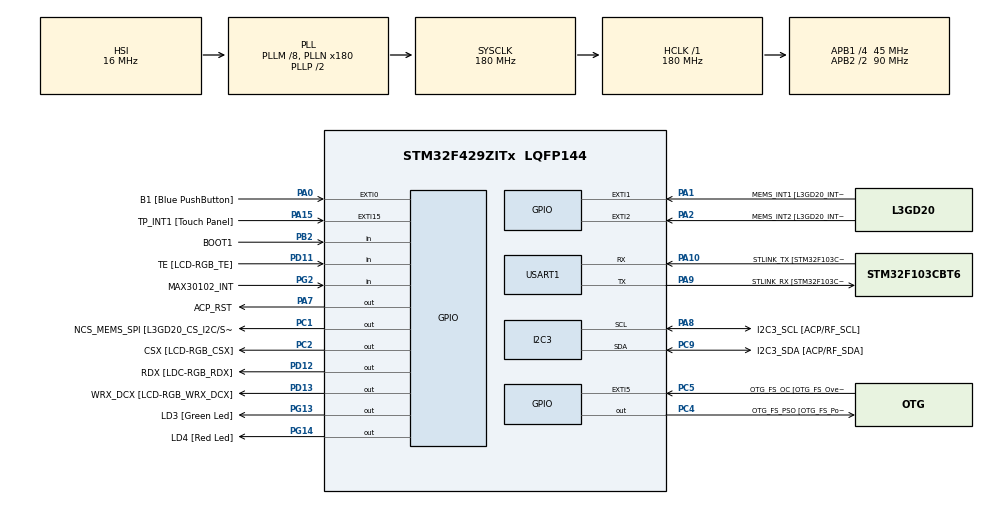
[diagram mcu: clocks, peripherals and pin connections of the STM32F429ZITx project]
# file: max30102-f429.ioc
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Mcu.Family=STM32F4
Mcu.Name=STM32F429ZITx
Mcu.Package=LQFP144
NVIC.PriorityGroup=NVIC_PRIORITYGROUP_0
PA0/WKUP.GPIO_Label=B1 [Blue PushButton]
PA0/WKUP.GPIO_ModeDefaultEXTI=GPIO_MODE_EVT_RISING
PA0/WKUP.GPIO_PuPd=GPIO_NOPULL
PA0/WKUP.Signal=GPXTI0
PA1.GPIO_Label=MEMS_INT1 [L3GD20_INT1]
PA1.GPIO_ModeDefaultEXTI=GPIO_MODE_EVT_RISING
PA1.GPIO_PuPd=GPIO_NOPULL
PA1.Signal=GPXTI1
PA10.GPIO_Label=STLINK_TX [STM32F103CBT6_PA2]
PA10.Mode=Asynchronous
PA10.Signal=USART1_RX
PA11.GPIO_Label=R4
PA11.GPIO_Mode=GPIO_MODE_AF_PP
PA11.GPIO_PuPd=GPIO_NOPULL
PA11.GPIO_Speed=GPIO_SPEED_FREQ_LOW
PA11.Signal=LTDC_R4
PA12.GPIO_Label=R5
PA12.GPIO_Mode=GPIO_MODE_AF_PP
PA12.GPIO_PuPd=GPIO_NOPULL
PA12.GPIO_Speed=GPIO_SPEED_FREQ_LOW
PA12.Signal=LTDC_R5
PA13.GPIO_Label=SWDIO
PA13.Signal=SYS_JTMS-SWDIO
PA14.GPIO_Label=SWCLK
PA14.Signal=SYS_JTCK-SWCLK
PA15.GPIO_Label=TP_INT1 [Touch Panel]
PA15.GPIO_ModeDefaultEXTI=GPIO_MODE_EVT_RISING
PA15.GPIO_PuPd=GPIO_NOPULL
PA15.Signal=GPXTI15
PA2.GPIO_Label=MEMS_INT2 [L3GD20_INT2]
PA2.GPIO_ModeDefaultEXTI=GPIO_MODE_EVT_RISING
PA2.GPIO_PuPd=GPIO_NOPULL
PA2.Signal=GPXTI2
PA3.GPIO_Label=B5
PA3.GPIO_Mode=GPIO_MODE_AF_PP
PA3.GPIO_PuPd=GPIO_NOPULL
PA3.GPIO_Speed=GPIO_SPEED_FREQ_LOW
PA3.Signal=LTDC_B5
PA4.GPIO_Label=VSYNC
PA4.GPIO_Mode=GPIO_MODE_AF_PP
PA4.GPIO_PuPd=GPIO_NOPULL
PA4.GPIO_Speed=GPIO_SPEED_FREQ_LOW
PA4.Signal=LTDC_VSYNC
PA6.GPIO_Label=G2
PA6.GPIO_Mode=GPIO_MODE_AF_PP
PA6.GPIO_PuPd=GPIO_NOPULL
PA6.GPIO_Speed=GPIO_SPEED_FREQ_LOW
PA6.Signal=LTDC_G2
PA7.GPIO_Label=ACP_RST
PA7.GPIO_Mode=GPIO_MODE_OUTPUT_PP
PA7.GPIO_PuPd=GPIO_NOPULL
PA7.GPIO_Speed=GPIO_SPEED_FREQ_LOW
PA7.Signal=GPIO_Output
PA8.GPIO_Label=I2C3_SCL [ACP/RF_SCL]
PA8.GPIO_Mode=GPIO_MODE_AF_OD
PA8.GPIO_PuPd=GPIO_NOPULL
PA8.GPIO_Speed=GPIO_SPEED_FREQ_LOW
PA8.Mode=I2C
PA8.Signal=I2C3_SCL
PA9.GPIO_Label=STLINK_RX [STM32F103CBT6_PA3]
PA9.Mode=Asynchronous
PA9.Signal=USART1_TX
PB0.GPIO_Label=R3
PB0.GPIO_Mode=GPIO_MODE_AF_PP
PB0.GPIO_PuPd=GPIO_NOPULL
PB0.GPIO_Speed=GPIO_SPEED_FREQ_LOW
PB0.Signal=LTDC_R3
PB1.GPIO_Label=R6
PB1.GPIO_Mode=GPIO_MODE_AF_PP
PB1.GPIO_PuPd=GPIO_NOPULL
PB1.GPIO_Speed=GPIO_SPEED_FREQ_LOW
PB1.Signal=LTDC_R6
PB10.GPIO_Label=G4
PB10.GPIO_Mode=GPIO_MODE_AF_PP
PB10.GPIO_PuPd=GPIO_NOPULL
PB10.GPIO_Speed=GPIO_SPEED_FREQ_LOW
PB10.Signal=LTDC_G4
PB11.GPIO_Label=G5
PB11.GPIO_Mode=GPIO_MODE_AF_PP
PB11.GPIO_PuPd=GPIO_NOPULL
PB11.GPIO_Speed=GPIO_SPEED_FREQ_LOW
PB11.Signal=LTDC_G5
PB12.GPIO_Label=OTG_HS_ID
PB12.GPIO_Mode=GPIO_MODE_AF_PP
PB12.GPIO_PuPd=GPIO_NOPULL
PB12.GPIO_Speed=GPIO_SPEED_FREQ_LOW
PB12.Signal=USB_OTG_HS_ID
PB13.GPIO_Label=VBUS_HS
PB13.GPIO_Mode=GPIO_MODE_INPUT
PB13.GPIO_PuPd=GPIO_NOPULL
PB13.Signal=USB_OTG_HS_VBUS
PB14.GPIO_Label=OTG_HS_DM
PB14.GPIO_Mode=GPIO_MODE_AF_PP
PB14.GPIO_PuPd=GPIO_NOPULL
PB14.GPIO_Speed=GPIO_SPEED_FREQ_LOW
PB14.Signal=USB_OTG_HS_DM
PB15.GPIO_Label=OTG_HS_DP
PB15.GPIO_Mode=GPIO_MODE_AF_PP
PB15.GPIO_PuPd=GPIO_NOPULL
PB15.GPIO_Speed=GPIO_SPEED_FREQ_LOW
PB15.Signal=USB_OTG_HS_DP
PB2/BOOT1.GPIO_Label=BOOT1
PB2/BOOT1.GPIO_Mode=GPIO_MODE_INPUT
PB2/BOOT1.GPIO_PuPd=GPIO_NOPULL
PB2/BOOT1.Signal=GPIO_Input
PB5.GPIO_Label=SDCKE1
PB5.GPIO_Mode=GPIO_MODE_AF_PP
PB5.GPIO_PuPd=GPIO_NOPULL
PB5.GPIO_Speed=GPIO_SPEED_FREQ_VERY_HIGH
PB5.Signal=FMC_SDCKE1
PB6.GPIO_Label=SDNE1 [SDRAM_CS]
PB6.GPIO_Mode=GPIO_MODE_AF_PP
PB6.GPIO_PuPd=GPIO_NOPULL
PB6.GPIO_Speed=GPIO_SPEED_FREQ_VERY_HIGH
PB6.Signal=FMC_SDNE1
PB8.GPIO_Label=B6
PB8.GPIO_Mode=GPIO_MODE_AF_PP
PB8.GPIO_PuPd=GPIO_NOPULL
PB8.GPIO_Speed=GPIO_SPEED_FREQ_LOW
PB8.Signal=LTDC_B6
PB9.GPIO_Label=B7
PB9.GPIO_Mode=GPIO_MODE_AF_PP
PB9.GPIO_PuPd=GPIO_NOPULL
PB9.GPIO_Speed=GPIO_SPEED_FREQ_LOW
PB9.Signal=LTDC_B7
PC0.GPIO_Label=SDNWE
PC0.GPIO_Mode=GPIO_MODE_AF_PP
PC0.GPIO_PuPd=GPIO_NOPULL
PC0.GPIO_Speed=GPIO_SPEED_FREQ_VERY_HIGH
PC0.Signal=FMC_SDNWE
PC1.GPIO_Label=NCS_MEMS_SPI [L3GD20_CS_I2C/SPI]
PC1.GPIO_Mode=GPIO_MODE_OUTPUT_PP
PC1.GPIO_PuPd=GPIO_NOPULL
PC1.GPIO_Speed=GPIO_SPEED_FREQ_LOW
PC1.Signal=GPIO_Output
PC10.GPIO_Label=R2
PC10.GPIO_Mode=GPIO_MODE_AF_PP
PC10.GPIO_PuPd=GPIO_NOPULL
PC10.GPIO_Speed=GPIO_SPEED_FREQ_LOW
PC10.Signal=LTDC_R2
PC14/OSC32_IN.GPIO_Label=PC14-OSC32_IN
PC14/OSC32_IN.Signal=RCC_OSC32_IN
PC15/OSC32_OUT.GPIO_Label=PC15-OSC32_OUT
PC15/OSC32_OUT.Signal=RCC_OSC32_OUT
PC2.GPIO_Label=CSX [LCD-RGB_CSX]
PC2.GPIO_Mode=GPIO_MODE_OUTPUT_PP
PC2.GPIO_PuPd=GPIO_NOPULL
PC2.GPIO_Speed=GPIO_SPEED_FREQ_LOW
PC2.Signal=GPIO_Output
PC4.GPIO_Label=OTG_FS_PSO [OTG_FS_PowerSwitchOn]
PC4.GPIO_Mode=GPIO_MODE_OUTPUT_PP
PC4.GPIO_PuPd=GPIO_NOPULL
PC4.GPIO_Speed=GPIO_SPEED_FREQ_LOW
PC4.Signal=GPIO_Output
PC5.GPIO_Label=OTG_FS_OC [OTG_FS_OverCurrent]
PC5.GPIO_ModeDefaultEXTI=GPIO_MODE_EVT_RISING
PC5.Signal=GPXTI5
PC6.GPIO_Label=HSYNC
PC6.GPIO_Mode=GPIO_MODE_AF_PP
PC6.GPIO_PuPd=GPIO_NOPULL
PC6.GPIO_Speed=GPIO_SPEED_FREQ_LOW
PC6.Signal=LTDC_HSYNC
PC7.GPIO_Label=G6
PC7.GPIO_Mode=GPIO_MODE_AF_PP
PC7.GPIO_PuPd=GPIO_NOPULL
PC7.GPIO_Speed=GPIO_SPEED_FREQ_LOW
PC7.Signal=LTDC_G6
PC9.GPIO_Label=I2C3_SDA [ACP/RF_SDA]
PC9.GPIO_Mode=GPIO_MODE_AF_OD
PC9.GPIO_PuPd=GPIO_NOPULL
PC9.GPIO_Speed=GPIO_SPEED_FREQ_LOW
PC9.Mode=I2C
PC9.Signal=I2C3_SDA
PD0.GPIO_Label=D2
PD0.GPIO_Mode=GPIO_MODE_AF_PP
PD0.GPIO_PuPd=GPIO_NOPULL
PD0.GPIO_Speed=GPIO_SPEED_FREQ_VERY_HIGH
PD0.Signal=FMC_D2_DA2
PD1.GPIO_Label=D3
PD1.GPIO_Mode=GPIO_MODE_AF_PP
PD1.GPIO_PuPd=GPIO_NOPULL
PD1.GPIO_Speed=GPIO_SPEED_FREQ_VERY_HIGH
PD1.Signal=FMC_D3_DA3
PD10.GPIO_Label=D15
PD10.GPIO_Mode=GPIO_MODE_AF_PP
PD10.GPIO_PuPd=GPIO_NOPULL
PD10.GPIO_Speed=GPIO_SPEED_FREQ_VERY_HIGH
PD10.Signal=FMC_D15_DA15
PD11.GPIO_Label=TE [LCD-RGB_TE]
PD11.GPIO_Mode=GPIO_MODE_INPUT
PD11.GPIO_PuPd=GPIO_NOPULL
PD11.Signal=GPIO_Input
PD12.GPIO_Label=RDX [LDC-RGB_RDX]
PD12.GPIO_Mode=GPIO_MODE_OUTPUT_PP
PD12.GPIO_PuPd=GPIO_NOPULL
PD12.GPIO_Speed=GPIO_SPEED_FREQ_LOW
PD12.Signal=GPIO_Output
PD13.GPIO_Label=WRX_DCX [LCD-RGB_WRX_DCX]
PD13.GPIO_Mode=GPIO_MODE_OUTPUT_PP
PD13.GPIO_PuPd=GPIO_NOPULL
PD13.GPIO_Speed=GPIO_SPEED_FREQ_LOW
PD13.Signal=GPIO_Output
PD14.GPIO_Label=D0
PD14.GPIO_Mode=GPIO_MODE_AF_PP
PD14.GPIO_PuPd=GPIO_NOPULL
PD14.GPIO_Speed=GPIO_SPEED_FREQ_VERY_HIGH
PD14.Signal=FMC_D0_DA0
PD15.GPIO_Label=D1
PD15.GPIO_Mode=GPIO_MODE_AF_PP
PD15.GPIO_PuPd=GPIO_NOPULL
PD15.GPIO_Speed=GPIO_SPEED_FREQ_VERY_HIGH
PD15.Signal=FMC_D1_DA1
PD3.GPIO_Label=G7
PD3.GPIO_Mode=GPIO_MODE_AF_PP
PD3.GPIO_PuPd=GPIO_NOPULL
PD3.GPIO_Speed=GPIO_SPEED_FREQ_LOW
PD3.Signal=LTDC_G7
PD6.GPIO_Label=B2
PD6.GPIO_Mode=GPIO_MODE_AF_PP
PD6.GPIO_PuPd=GPIO_NOPULL
PD6.GPIO_Speed=GPIO_SPEED_FREQ_LOW
PD6.Signal=LTDC_B2
PD8.GPIO_Label=D13
PD8.GPIO_Mode=GPIO_MODE_AF_PP
PD8.GPIO_PuPd=GPIO_NOPULL
PD8.GPIO_Speed=GPIO_SPEED_FREQ_VERY_HIGH
PD8.Signal=FMC_D13_DA13
PD9.GPIO_Label=D14
PD9.GPIO_Mode=GPIO_MODE_AF_PP
PD9.GPIO_PuPd=GPIO_NOPULL
PD9.GPIO_Speed=GPIO_SPEED_FREQ_VERY_HIGH
PD9.Signal=FMC_D14_DA14
PE0.GPIO_Label=NBL0 [SDRAM_LDQM]
PE0.GPIO_Mode=GPIO_MODE_AF_PP
PE0.GPIO_PuPd=GPIO_NOPULL
PE0.GPIO_Speed=GPIO_SPEED_FREQ_VERY_HIGH
PE0.Signal=FMC_NBL0
PE1.GPIO_Label=NBL1 [SDRAM_UDQM]
PE1.GPIO_Mode=GPIO_MODE_AF_PP
PE1.GPIO_PuPd=GPIO_NOPULL
PE1.GPIO_Speed=GPIO_SPEED_FREQ_VERY_HIGH
PE1.Signal=FMC_NBL1
PE10.GPIO_Label=D7
PE10.GPIO_Mode=GPIO_MODE_AF_PP
PE10.GPIO_PuPd=GPIO_NOPULL
PE10.GPIO_Speed=GPIO_SPEED_FREQ_VERY_HIGH
PE10.Signal=FMC_D7_DA7
PE11.GPIO_Label=D8
PE11.GPIO_Mode=GPIO_MODE_AF_PP
PE11.GPIO_PuPd=GPIO_NOPULL
PE11.GPIO_Speed=GPIO_SPEED_FREQ_VERY_HIGH
PE11.Signal=FMC_D8_DA8
PE12.GPIO_Label=D9
PE12.GPIO_Mode=GPIO_MODE_AF_PP
PE12.GPIO_PuPd=GPIO_NOPULL
PE12.GPIO_Speed=GPIO_SPEED_FREQ_VERY_HIGH
PE12.Signal=FMC_D9_DA9
PE13.GPIO_Label=D10
PE13.GPIO_Mode=GPIO_MODE_AF_PP
PE13.GPIO_PuPd=GPIO_NOPULL
PE13.GPIO_Speed=GPIO_SPEED_FREQ_VERY_HIGH
PE13.Signal=FMC_D10_DA10
PE14.GPIO_Label=D11
PE14.GPIO_Mode=GPIO_MODE_AF_PP
PE14.GPIO_PuPd=GPIO_NOPULL
PE14.GPIO_Speed=GPIO_SPEED_FREQ_VERY_HIGH
PE14.Signal=FMC_D11_DA11
PE15.GPIO_Label=D12
PE15.GPIO_Mode=GPIO_MODE_AF_PP
PE15.GPIO_PuPd=GPIO_NOPULL
PE15.GPIO_Speed=GPIO_SPEED_FREQ_VERY_HIGH
PE15.Signal=FMC_D12_DA12
PE7.GPIO_Label=D4
PE7.GPIO_Mode=GPIO_MODE_AF_PP
PE7.GPIO_PuPd=GPIO_NOPULL
PE7.GPIO_Speed=GPIO_SPEED_FREQ_VERY_HIGH
PE7.Signal=FMC_D4_DA4
PE8.GPIO_Label=D5
PE8.GPIO_Mode=GPIO_MODE_AF_PP
PE8.GPIO_PuPd=GPIO_NOPULL
PE8.GPIO_Speed=GPIO_SPEED_FREQ_VERY_HIGH
PE8.Signal=FMC_D5_DA5
PE9.GPIO_Label=D6
PE9.GPIO_Mode=GPIO_MODE_AF_PP
PE9.GPIO_PuPd=GPIO_NOPULL
PE9.GPIO_Speed=GPIO_SPEED_FREQ_VERY_HIGH
PE9.Signal=FMC_D6_DA6
PF0.GPIO_Label=A0
PF0.GPIO_Mode=GPIO_MODE_AF_PP
PF0.GPIO_PuPd=GPIO_NOPULL
PF0.GPIO_Speed=GPIO_SPEED_FREQ_VERY_HIGH
PF0.Signal=FMC_A0
PF1.GPIO_Label=A1
PF1.GPIO_Mode=GPIO_MODE_AF_PP
PF1.GPIO_PuPd=GPIO_NOPULL
PF1.GPIO_Speed=GPIO_SPEED_FREQ_VERY_HIGH
PF1.Signal=FMC_A1
PF10.GPIO_Label=ENABLE [LCD-RGB_ENABLE]
PF10.GPIO_Mode=GPIO_MODE_AF_PP
PF10.GPIO_PuPd=GPIO_NOPULL
PF10.GPIO_Speed=GPIO_SPEED_FREQ_LOW
PF10.Signal=LTDC_DE
PF11.GPIO_Label=SDNRAS
PF11.GPIO_Mode=GPIO_MODE_AF_PP
PF11.GPIO_PuPd=GPIO_NOPULL
PF11.GPIO_Speed=GPIO_SPEED_FREQ_VERY_HIGH
PF11.Signal=FMC_SDNRAS
PF12.GPIO_Label=A6
PF12.GPIO_Mode=GPIO_MODE_AF_PP
PF12.GPIO_PuPd=GPIO_NOPULL
PF12.GPIO_Speed=GPIO_SPEED_FREQ_VERY_HIGH
PF12.Signal=FMC_A6
PF13.GPIO_Label=A7
PF13.GPIO_Mode=GPIO_MODE_AF_PP
PF13.GPIO_PuPd=GPIO_NOPULL
PF13.GPIO_Speed=GPIO_SPEED_FREQ_VERY_HIGH
PF13.Signal=FMC_A7
PF14.GPIO_Label=A8
PF14.GPIO_Mode=GPIO_MODE_AF_PP
PF14.GPIO_PuPd=GPIO_NOPULL
PF14.GPIO_Speed=GPIO_SPEED_FREQ_VERY_HIGH
PF14.Signal=FMC_A8
PF15.GPIO_Label=A9
PF15.GPIO_Mode=GPIO_MODE_AF_PP
PF15.GPIO_PuPd=GPIO_NOPULL
PF15.GPIO_Speed=GPIO_SPEED_FREQ_VERY_HIGH
PF15.Signal=FMC_A9
PF2.GPIO_Label=A2
PF2.GPIO_Mode=GPIO_MODE_AF_PP
PF2.GPIO_PuPd=GPIO_NOPULL
PF2.GPIO_Speed=GPIO_SPEED_FREQ_VERY_HIGH
PF2.Signal=FMC_A2
PF3.GPIO_Label=A3
PF3.GPIO_Mode=GPIO_MODE_AF_PP
PF3.GPIO_PuPd=GPIO_NOPULL
PF3.GPIO_Speed=GPIO_SPEED_FREQ_VERY_HIGH
PF3.Signal=FMC_A3
PF4.GPIO_Label=A4
PF4.GPIO_Mode=GPIO_MODE_AF_PP
PF4.GPIO_PuPd=GPIO_NOPULL
PF4.GPIO_Speed=GPIO_SPEED_FREQ_VERY_HIGH
PF4.Signal=FMC_A4
PF5.GPIO_Label=A5
PF5.GPIO_Mode=GPIO_MODE_AF_PP
PF5.GPIO_PuPd=GPIO_NOPULL
PF5.GPIO_Speed=GPIO_SPEED_FREQ_VERY_HIGH
PF5.Signal=FMC_A5
PF7.GPIO_Label=SPI5_SCK [L3GD20_SCL/SPC]
PF7.GPIO_Mode=GPIO_MODE_AF_PP
PF7.GPIO_PuPd=GPIO_NOPULL
PF7.GPIO_Speed=GPIO_SPEED_FREQ_LOW
PF7.Signal=SPI5_SCK
PF8.GPIO_Label=SPI5_MISO [L3GD20_SDO]
PF8.GPIO_Mode=GPIO_MODE_AF_PP
PF8.GPIO_PuPd=GPIO_NOPULL
PF8.GPIO_Speed=GPIO_SPEED_FREQ_LOW
PF8.Signal=SPI5_MISO
PF9.GPIO_Label=SPI5_MOSI [L3GD20_SDA/SDI/SDO]
PF9.GPIO_Mode=GPIO_MODE_AF_PP
PF9.GPIO_PuPd=GPIO_NOPULL
PF9.GPIO_Speed=GPIO_SPEED_FREQ_LOW
PF9.Signal=SPI5_MOSI
PG0.GPIO_Label=A10
PG0.GPIO_Mode=GPIO_MODE_AF_PP
PG0.GPIO_PuPd=GPIO_NOPULL
PG0.GPIO_Speed=GPIO_SPEED_FREQ_VERY_HIGH
PG0.Signal=FMC_A10
PG1.GPIO_Label=A11
PG1.GPIO_Mode=GPIO_MODE_AF_PP
PG1.GPIO_PuPd=GPIO_NOPULL
PG1.GPIO_Speed=GPIO_SPEED_FREQ_VERY_HIGH
PG1.Signal=FMC_A11
PG10.GPIO_Label=G3
PG10.GPIO_Mode=GPIO_MODE_AF_PP
PG10.GPIO_PuPd=GPIO_NOPULL
PG10.GPIO_Speed=GPIO_SPEED_FREQ_LOW
PG10.Signal=LTDC_G3
PG11.GPIO_Label=B3
PG11.GPIO_Mode=GPIO_MODE_AF_PP
PG11.GPIO_PuPd=GPIO_NOPULL
PG11.GPIO_Speed=GPIO_SPEED_FREQ_LOW
PG11.Signal=LTDC_B3
PG12.GPIO_Label=B4
PG12.GPIO_Mode=GPIO_MODE_AF_PP
PG12.GPIO_PuPd=GPIO_NOPULL
PG12.GPIO_Speed=GPIO_SPEED_FREQ_LOW
PG12.Signal=LTDC_B4
PG13.GPIO_Label=LD3 [Green Led]
PG13.GPIO_Mode=GPIO_MODE_OUTPUT_PP
PG13.GPIO_PuPd=GPIO_NOPULL
PG13.GPIO_Speed=GPIO_SPEED_FREQ_LOW
PG13.Signal=GPIO_Output
PG14.GPIO_Label=LD4 [Red Led]
PG14.GPIO_Mode=GPIO_MODE_OUTPUT_PP
PG14.GPIO_PuPd=GPIO_NOPULL
PG14.GPIO_Speed=GPIO_SPEED_FREQ_LOW
PG14.Signal=GPIO_Output
PG15.GPIO_Label=SDNCAS
PG15.GPIO_Mode=GPIO_MODE_AF_PP
PG15.GPIO_PuPd=GPIO_NOPULL
PG15.GPIO_Speed=GPIO_SPEED_FREQ_VERY_HIGH
PG15.Signal=FMC_SDNCAS
PG2.GPIO_Label=MAX30102_INT
PG2.Signal=GPIO_Input
PG4.GPIO_Label=BA0
PG4.GPIO_Mode=GPIO_MODE_AF_PP
PG4.GPIO_PuPd=GPIO_NOPULL
PG4.GPIO_Speed=GPIO_SPEED_FREQ_VERY_HIGH
PG4.Signal=FMC_A14_BA0
PG5.GPIO_Label=BA1
PG5.GPIO_Mode=GPIO_MODE_AF_PP
PG5.GPIO_PuPd=GPIO_NOPULL
PG5.GPIO_Speed=GPIO_SPEED_FREQ_VERY_HIGH
PG5.Signal=FMC_A15_BA1
PG6.GPIO_Label=R7
PG6.GPIO_Mode=GPIO_MODE_AF_PP
PG6.GPIO_PuPd=GPIO_NOPULL
PG6.GPIO_Speed=GPIO_SPEED_FREQ_LOW
PG6.Signal=LTDC_R7
PG7.GPIO_Label=DOTCLK [LCT-RGB_DOTCLK]
PG7.GPIO_Mode=GPIO_MODE_AF_PP
PG7.GPIO_PuPd=GPIO_NOPULL
PG7.GPIO_Speed=GPIO_SPEED_FREQ_LOW
PG7.Signal=LTDC_CLK
PG8.GPIO_Label=SDCLK
PG8.GPIO_Mode=GPIO_MODE_AF_PP
PG8.GPIO_PuPd=GPIO_NOPULL
PG8.GPIO_Speed=GPIO_SPEED_FREQ_VERY_HIGH
PG8.Signal=FMC_SDCLK
PH0/OSC_IN.GPIO_Label=PH0-OSC_IN
PH0/OSC_IN.Signal=RCC_OSC_IN
PH1/OSC_OUT.GPIO_Label=PH1-OSC_OUT
PH1/OSC_OUT.Signal=RCC_OSC_OUT
ProjectManager.HeapSize=0x200
ProjectManager.StackSize=0x400
ProjectManager.TargetToolchain=Makefile
RCC.48MHZClocksFreq_Value=51428571.428571425
RCC.AHBFreq_Value=180000000
RCC.APB1CLKDivider=RCC_HCLK_DIV4
RCC.APB1Freq_Value=45000000
RCC.APB1TimFreq_Value=90000000
RCC.APB2CLKDivider=RCC_HCLK_DIV2
RCC.APB2Freq_Value=90000000
RCC.APB2TimFreq_Value=180000000
RCC.CortexFreq_Value=180000000
RCC.HCLKFreq_Value=180000000
RCC.HSE_VALUE=8000000
RCC.HSI_VALUE=16000000
RCC.LSE_VALUE=32768
RCC.PLLM=8
RCC.PLLN=180
RCC.PLLQ=7
RCC.SYSCLKFreq_VALUE=180000000
RCC.SYSCLKSource=RCC_SYSCLKSOURCE_PLLCLK
RCC.VCOOutputFreq_Value=360000000
SH.FMC_A0.0=FMC_A0
SH.FMC_A1.0=FMC_A1
SH.FMC_A10.0=FMC_A10
SH.FMC_A11.0=FMC_A11
SH.FMC_A14_BA0.0=FMC_BA0
SH.FMC_A15_BA1.0=FMC_BA1
SH.FMC_A2.0=FMC_A2
SH.FMC_A3.0=FMC_A3
SH.FMC_A4.0=FMC_A4
SH.FMC_A5.0=FMC_A5
SH.FMC_A6.0=FMC_A6
SH.FMC_A7.0=FMC_A7
SH.FMC_A8.0=FMC_A8
SH.FMC_A9.0=FMC_A9
SH.FMC_D0_DA0.0=FMC_D0
SH.FMC_D10_DA10.0=FMC_D10
SH.FMC_D11_DA11.0=FMC_D11
SH.FMC_D12_DA12.0=FMC_D12
SH.FMC_D13_DA13.0=FMC_D13
SH.FMC_D14_DA14.0=FMC_D14
SH.FMC_D15_DA15.0=FMC_D15
SH.FMC_D1_DA1.0=FMC_D1
SH.FMC_D2_DA2.0=FMC_D2
SH.FMC_D3_DA3.0=FMC_D3
SH.FMC_D4_DA4.0=FMC_D4
SH.FMC_D5_DA5.0=FMC_D5
SH.FMC_D6_DA6.0=FMC_D6
SH.FMC_D7_DA7.0=FMC_D7
SH.FMC_D8_DA8.0=FMC_D8
SH.FMC_D9_DA9.0=FMC_D9
SH.FMC_NBL0.0=FMC_NBL0
SH.FMC_NBL1.0=FMC_NBL1
SH.FMC_SDCLK.0=FMC_SDCLK
SH.FMC_SDNCAS.0=FMC_SDNCAS
SH.FMC_SDNRAS.0=FMC_SDNRAS
SH.FMC_SDNWE.0=FMC_SDNWE
USART1.VirtualMode=VM_ASYNC
board=32F429IDISCOVERY

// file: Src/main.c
/* USER CODE BEGIN Header */
/**
  ******************************************************************************
  * @file           : main.c
  * @brief          : Main program body
  ******************************************************************************
  ** This notice applies to any and all portions of this file
  * that are not between comment pairs USER CODE BEGIN and
  * USER CODE END. Other portions of this file, whether
  * inserted by the user or by software development tools
  * are owned by their respective copyright owners.
  *
  * COPYRIGHT(c) 2019 STMicroelectronics
  *
  * Redistribution and use in source and binary forms, with or without modification,
  * are permitted provided that the following conditions are met:
  *   1. Redistributions of source code must retain the above copyright notice,
  *      this list of conditions and the following disclaimer.
  *   2. Redistributions in binary form must reproduce the above copyright notice,
  *      this list of conditions and the following disclaimer in the documentation
  *      and/or other materials provided with the distribution.
  *   3. Neither the name of STMicroelectronics nor the names of its contributors
  *      may be used to endorse or promote products derived from this software
  *      without specific prior written permission.
  *
  * THIS SOFTWARE IS PROVIDED BY THE COPYRIGHT HOLDERS AND CONTRIBUTORS "AS IS"
  * AND ANY EXPRESS OR IMPLIED WARRANTIES, INCLUDING, BUT NOT LIMITED TO, THE
  * IMPLIED WARRANTIES OF MERCHANTABILITY AND FITNESS FOR A PARTICULAR PURPOSE ARE
  * DISCLAIMED. IN NO EVENT SHALL THE COPYRIGHT HOLDER OR CONTRIBUTORS BE LIABLE
  * FOR ANY DIRECT, INDIRECT, INCIDENTAL, SPECIAL, EXEMPLARY, OR CONSEQUENTIAL
  * DAMAGES (INCLUDING, BUT NOT LIMITED TO, PROCUREMENT OF SUBSTITUTE GOODS OR
  * SERVICES; LOSS OF USE, DATA, OR PROFITS; OR BUSINESS INTERRUPTION) HOWEVER
  * CAUSED AND ON ANY THEORY OF LIABILITY, WHETHER IN CONTRACT, STRICT LIABILITY,
  * OR TORT (INCLUDING NEGLIGENCE OR OTHERWISE) ARISING IN ANY WAY OUT OF THE USE
  * OF THIS SOFTWARE, EVEN IF ADVISED OF THE POSSIBILITY OF SUCH DAMAGE.
  *
  ******************************************************************************
  */
/* USER CODE END Header */

#include "main.h"

/* USER CODE BEGIN Includes */
#include "MAX30102.h"
#include "stdio.h"
#include "stdlib.h"
/* USER CODE END Includes */

/* USER CODE BEGIN PM */
#ifdef __GNUC__
#define PUTCHAR_PROTOTYPE int __io_putchar(int ch)
#else
#define PUTCHAR_PROTOTYPE int fputc(int ch, FILE *f)
#endif
/* USER CODE END PM */

I2C_HandleTypeDef hi2c3;

UART_HandleTypeDef huart1;

/* USER CODE BEGIN PV */
PUTCHAR_PROTOTYPE
{
    HAL_UART_Transmit(&huart1 , (uint8_t *)&ch, 1 , 0xffff);

//    while ((USART1->SR & 0X40) == 0); //寄存器操作,循环发�??,直到发�?�完�??
//    USART1->DR = (uint8_t) ch;
    return ch;
}
/* USER CODE END PV */

void SystemClock_Config(void);
static void MX_GPIO_Init(void);
static void MX_USART1_UART_Init(void);
static void MX_I2C3_Init(void);
/* USER CODE BEGIN PFP */
int _write(int fd, char *ptr, int len);
void print_float(float value);
/* USER CODE END PFP */

/* USER CODE BEGIN 0 */
int _write(int fd, char *ptr, int len)
{
    int i = 0; /*
     * write "len" of char from "ptr" to file id "fd"
     * Return number of char written.
     *
    * Only work for STDOUT, STDIN, and STDERR
     */ if (fd > 2) { return -1; } while (*ptr && (i < len))
      {
        HAL_UART_Transmit(&huart1,ptr,sizeof(*ptr),10);
        if (*ptr == '\n')
        {
          HAL_UART_Transmit(&huart1,(uint8_t*)"\r",2,10);
        }
        i++;
        ptr++;
      }
      return i;
}
/* USER CODE END 0 */

int main(void)
{
  /* USER CODE BEGIN 1 */
  float temp_value = 0.0;
  uint8_t uc_dumpy;
  /* USER CODE END 1 */

  /* MCU Configuration--------------------------------------------------------*/

  /* Reset of all peripherals, Initializes the Flash interface and the Systick. */
  HAL_Init();

  /* Configure the system clock */
  SystemClock_Config();

  /* Initialize all configured peripherals */
  MX_GPIO_Init();
  MX_USART1_UART_Init();
  MX_I2C3_Init();
  /* USER CODE BEGIN 2 */
  HAL_Delay(1);
  maxim_max30102_reset();
  maxim_max30102_read_reg(0, &uc_dumpy);  //read and clear status register
  maxim_max30102_init();
  // if(!maxim_max30102_init())  Error_Handler();

  /* USER CODE END 2 */

  /* Infinite loop */
  while (1)
  {

    /* USER CODE BEGIN 3 */
    HAL_Delay(10);
    temp_value = maxim_max30102_read_temperature();
    // temp_value = 20.0112343434;
    printf("Temperature =  ");
    print_float(temp_value);
    printf("---------\r\n");

  }
  /* USER CODE END 3 */
}

void SystemClock_Config(void)
{
  RCC_OscInitTypeDef RCC_OscInitStruct = {0};
  RCC_ClkInitTypeDef RCC_ClkInitStruct = {0};

  /**Configure the main internal regulator output voltage
  */
  __HAL_RCC_PWR_CLK_ENABLE();
  __HAL_PWR_VOLTAGESCALING_CONFIG(PWR_REGULATOR_VOLTAGE_SCALE1);
  /**Initializes the CPU, AHB and APB busses clocks
  */
  RCC_OscInitStruct.OscillatorType = RCC_OSCILLATORTYPE_HSI;
  RCC_OscInitStruct.HSIState = RCC_HSI_ON;
  RCC_OscInitStruct.HSICalibrationValue = RCC_HSICALIBRATION_DEFAULT;
  RCC_OscInitStruct.PLL.PLLState = RCC_PLL_ON;
  RCC_OscInitStruct.PLL.PLLSource = RCC_PLLSOURCE_HSI;
  RCC_OscInitStruct.PLL.PLLM = 8;
  RCC_OscInitStruct.PLL.PLLN = 180;
  RCC_OscInitStruct.PLL.PLLP = RCC_PLLP_DIV2;
  RCC_OscInitStruct.PLL.PLLQ = 7;
  if (HAL_RCC_OscConfig(&RCC_OscInitStruct) != HAL_OK)
  {
    Error_Handler();
  }
  /**Activate the Over-Drive mode
  */
  if (HAL_PWREx_EnableOverDrive() != HAL_OK)
  {
    Error_Handler();
  }
  /**Initializes the CPU, AHB and APB busses clocks
  */
  RCC_ClkInitStruct.ClockType = RCC_CLOCKTYPE_HCLK|RCC_CLOCKTYPE_SYSCLK
                              |RCC_CLOCKTYPE_PCLK1|RCC_CLOCKTYPE_PCLK2;
  RCC_ClkInitStruct.SYSCLKSource = RCC_SYSCLKSOURCE_PLLCLK;
  RCC_ClkInitStruct.AHBCLKDivider = RCC_SYSCLK_DIV1;
  RCC_ClkInitStruct.APB1CLKDivider = RCC_HCLK_DIV4;
  RCC_ClkInitStruct.APB2CLKDivider = RCC_HCLK_DIV2;

  if (HAL_RCC_ClockConfig(&RCC_ClkInitStruct, FLASH_LATENCY_5) != HAL_OK)
  {
    Error_Handler();
  }
}

static void MX_I2C3_Init(void)
{

  hi2c3.Instance = I2C3;
  hi2c3.Init.ClockSpeed = 100000;
  hi2c3.Init.DutyCycle = I2C_DUTYCYCLE_2;
  hi2c3.Init.OwnAddress1 = 0;
  hi2c3.Init.AddressingMode = I2C_ADDRESSINGMODE_7BIT;
  hi2c3.Init.DualAddressMode = I2C_DUALADDRESS_DISABLE;
  hi2c3.Init.OwnAddress2 = 0;
  hi2c3.Init.GeneralCallMode = I2C_GENERALCALL_DISABLE;
  hi2c3.Init.NoStretchMode = I2C_NOSTRETCH_DISABLE;
  if (HAL_I2C_Init(&hi2c3) != HAL_OK)
  {
    Error_Handler();
  }
  /**Configure Analogue filter
  */
  if (HAL_I2CEx_ConfigAnalogFilter(&hi2c3, I2C_ANALOGFILTER_ENABLE) != HAL_OK)
  {
    Error_Handler();
  }
  /**Configure Digital filter
  */
  if (HAL_I2CEx_ConfigDigitalFilter(&hi2c3, 0) != HAL_OK)
  {
    Error_Handler();
  }

}

static void MX_USART1_UART_Init(void)
{

  huart1.Instance = USART1;
  huart1.Init.BaudRate = 115200;
  huart1.Init.WordLength = UART_WORDLENGTH_8B;
  huart1.Init.StopBits = UART_STOPBITS_1;
  huart1.Init.Parity = UART_PARITY_NONE;
  huart1.Init.Mode = UART_MODE_TX_RX;
  huart1.Init.HwFlowCtl = UART_HWCONTROL_NONE;
  huart1.Init.OverSampling = UART_OVERSAMPLING_16;
  if (HAL_UART_Init(&huart1) != HAL_OK)
  {
    Error_Handler();
  }

}

static void MX_GPIO_Init(void)
{
  GPIO_InitTypeDef GPIO_InitStruct = {0};

  /* GPIO Ports Clock Enable */
  __HAL_RCC_GPIOC_CLK_ENABLE();
  __HAL_RCC_GPIOF_CLK_ENABLE();
  __HAL_RCC_GPIOH_CLK_ENABLE();
  __HAL_RCC_GPIOA_CLK_ENABLE();
  __HAL_RCC_GPIOB_CLK_ENABLE();
  __HAL_RCC_GPIOG_CLK_ENABLE();
  __HAL_RCC_GPIOE_CLK_ENABLE();
  __HAL_RCC_GPIOD_CLK_ENABLE();

  /*Configure GPIO pin Output Level */
  HAL_GPIO_WritePin(GPIOC, NCS_MEMS_SPI_Pin|CSX_Pin|OTG_FS_PSO_Pin, GPIO_PIN_RESET);

  /*Configure GPIO pin Output Level */
  HAL_GPIO_WritePin(ACP_RST_GPIO_Port, ACP_RST_Pin, GPIO_PIN_RESET);

  /*Configure GPIO pin Output Level */
  HAL_GPIO_WritePin(GPIOD, RDX_Pin|WRX_DCX_Pin, GPIO_PIN_RESET);

  /*Configure GPIO pin Output Level */
  HAL_GPIO_WritePin(GPIOG, LD3_Pin|LD4_Pin, GPIO_PIN_RESET);

  /*Configure GPIO pins : A0_Pin A1_Pin A2_Pin A3_Pin
                           A4_Pin A5_Pin SDNRAS_Pin A6_Pin
                           A7_Pin A8_Pin A9_Pin */
  GPIO_InitStruct.Pin = A0_Pin|A1_Pin|A2_Pin|A3_Pin
                          |A4_Pin|A5_Pin|SDNRAS_Pin|A6_Pin
                          |A7_Pin|A8_Pin|A9_Pin;
  GPIO_InitStruct.Mode = GPIO_MODE_AF_PP;
  GPIO_InitStruct.Pull = GPIO_NOPULL;
  GPIO_InitStruct.Speed = GPIO_SPEED_FREQ_VERY_HIGH;
  GPIO_InitStruct.Alternate = GPIO_AF12_FMC;
  HAL_GPIO_Init(GPIOF, &GPIO_InitStruct);

  /*Configure GPIO pins : SPI5_SCK_Pin SPI5_MISO_Pin SPI5_MOSI_Pin */
  GPIO_InitStruct.Pin = SPI5_SCK_Pin|SPI5_MISO_Pin|SPI5_MOSI_Pin;
  GPIO_InitStruct.Mode = GPIO_MODE_AF_PP;
  GPIO_InitStruct.Pull = GPIO_NOPULL;
  GPIO_InitStruct.Speed = GPIO_SPEED_FREQ_LOW;
  GPIO_InitStruct.Alternate = GPIO_AF5_SPI5;
  HAL_GPIO_Init(GPIOF, &GPIO_InitStruct);

  /*Configure GPIO pin : ENABLE_Pin */
  GPIO_InitStruct.Pin = ENABLE_Pin;
  GPIO_InitStruct.Mode = GPIO_MODE_AF_PP;
  GPIO_InitStruct.Pull = GPIO_NOPULL;
  GPIO_InitStruct.Speed = GPIO_SPEED_FREQ_LOW;
  GPIO_InitStruct.Alternate = GPIO_AF14_LTDC;
  HAL_GPIO_Init(ENABLE_GPIO_Port, &GPIO_InitStruct);

  /*Configure GPIO pin : SDNWE_Pin */
  GPIO_InitStruct.Pin = SDNWE_Pin;
  GPIO_InitStruct.Mode = GPIO_MODE_AF_PP;
  GPIO_InitStruct.Pull = GPIO_NOPULL;
  GPIO_InitStruct.Speed = GPIO_SPEED_FREQ_VERY_HIGH;
  GPIO_InitStruct.Alternate = GPIO_AF12_FMC;
  HAL_GPIO_Init(SDNWE_GPIO_Port, &GPIO_InitStruct);

  /*Configure GPIO pins : NCS_MEMS_SPI_Pin CSX_Pin OTG_FS_PSO_Pin */
  GPIO_InitStruct.Pin = NCS_MEMS_SPI_Pin|CSX_Pin|OTG_FS_PSO_Pin;
  GPIO_InitStruct.Mode = GPIO_MODE_OUTPUT_PP;
  GPIO_InitStruct.Pull = GPIO_NOPULL;
  GPIO_InitStruct.Speed = GPIO_SPEED_FREQ_LOW;
  HAL_GPIO_Init(GPIOC, &GPIO_InitStruct);

  /*Configure GPIO pins : B1_Pin MEMS_INT1_Pin MEMS_INT2_Pin TP_INT1_Pin */
  GPIO_InitStruct.Pin = B1_Pin|MEMS_INT1_Pin|MEMS_INT2_Pin|TP_INT1_Pin;
  GPIO_InitStruct.Mode = GPIO_MODE_EVT_RISING;
  GPIO_InitStruct.Pull = GPIO_NOPULL;
  HAL_GPIO_Init(GPIOA, &GPIO_InitStruct);

  /*Configure GPIO pins : B5_Pin VSYNC_Pin G2_Pin R4_Pin
                           R5_Pin */
  GPIO_InitStruct.Pin = B5_Pin|VSYNC_Pin|G2_Pin|R4_Pin
                          |R5_Pin;
  GPIO_InitStruct.Mode = GPIO_MODE_AF_PP;
  GPIO_InitStruct.Pull = GPIO_NOPULL;
  GPIO_InitStruct.Speed = GPIO_SPEED_FREQ_LOW;
  GPIO_InitStruct.Alternate = GPIO_AF14_LTDC;
  HAL_GPIO_Init(GPIOA, &GPIO_InitStruct);

  /*Configure GPIO pin : ACP_RST_Pin */
  GPIO_InitStruct.Pin = ACP_RST_Pin;
  GPIO_InitStruct.Mode = GPIO_MODE_OUTPUT_PP;
  GPIO_InitStruct.Pull = GPIO_NOPULL;
  GPIO_InitStruct.Speed = GPIO_SPEED_FREQ_LOW;
  HAL_GPIO_Init(ACP_RST_GPIO_Port, &GPIO_InitStruct);

  /*Configure GPIO pin : OTG_FS_OC_Pin */
  GPIO_InitStruct.Pin = OTG_FS_OC_Pin;
  GPIO_InitStruct.Mode = GPIO_MODE_EVT_RISING;
  GPIO_InitStruct.Pull = GPIO_NOPULL;
  HAL_GPIO_Init(OTG_FS_OC_GPIO_Port, &GPIO_InitStruct);

  /*Configure GPIO pins : R3_Pin R6_Pin */
  GPIO_InitStruct.Pin = R3_Pin|R6_Pin;
  GPIO_InitStruct.Mode = GPIO_MODE_AF_PP;
  GPIO_InitStruct.Pull = GPIO_NOPULL;
  GPIO_InitStruct.Speed = GPIO_SPEED_FREQ_LOW;
  GPIO_InitStruct.Alternate = GPIO_AF9_LTDC;
  HAL_GPIO_Init(GPIOB, &GPIO_InitStruct);

  /*Configure GPIO pin : BOOT1_Pin */
  GPIO_InitStruct.Pin = BOOT1_Pin;
  GPIO_InitStruct.Mode = GPIO_MODE_INPUT;
  GPIO_InitStruct.Pull = GPIO_NOPULL;
  HAL_GPIO_Init(BOOT1_GPIO_Port, &GPIO_InitStruct);

  /*Configure GPIO pins : A10_Pin A11_Pin BA0_Pin BA1_Pin
                           SDCLK_Pin SDNCAS_Pin */
  GPIO_InitStruct.Pin = A10_Pin|A11_Pin|BA0_Pin|BA1_Pin
                          |SDCLK_Pin|SDNCAS_Pin;
  GPIO_InitStruct.Mode = GPIO_MODE_AF_PP;
  GPIO_InitStruct.Pull = GPIO_NOPULL;
  GPIO_InitStruct.Speed = GPIO_SPEED_FREQ_VERY_HIGH;
  GPIO_InitStruct.Alternate = GPIO_AF12_FMC;
  HAL_GPIO_Init(GPIOG, &GPIO_InitStruct);

  /*Configure GPIO pins : D4_Pin D5_Pin D6_Pin D7_Pin
                           D8_Pin D9_Pin D10_Pin D11_Pin
                           D12_Pin NBL0_Pin NBL1_Pin */
  GPIO_InitStruct.Pin = D4_Pin|D5_Pin|D6_Pin|D7_Pin
                          |D8_Pin|D9_Pin|D10_Pin|D11_Pin
                          |D12_Pin|NBL0_Pin|NBL1_Pin;
  GPIO_InitStruct.Mode = GPIO_MODE_AF_PP;
  GPIO_InitStruct.Pull = GPIO_NOPULL;
  GPIO_InitStruct.Speed = GPIO_SPEED_FREQ_VERY_HIGH;
  GPIO_InitStruct.Alternate = GPIO_AF12_FMC;
  HAL_GPIO_Init(GPIOE, &GPIO_InitStruct);

  /*Configure GPIO pins : G4_Pin G5_Pin B6_Pin B7_Pin */
  GPIO_InitStruct.Pin = G4_Pin|G5_Pin|B6_Pin|B7_Pin;
  GPIO_InitStruct.Mode = GPIO_MODE_AF_PP;
  GPIO_InitStruct.Pull = GPIO_NOPULL;
  GPIO_InitStruct.Speed = GPIO_SPEED_FREQ_LOW;
  GPIO_InitStruct.Alternate = GPIO_AF14_LTDC;
  HAL_GPIO_Init(GPIOB, &GPIO_InitStruct);

  /*Configure GPIO pins : OTG_HS_ID_Pin OTG_HS_DM_Pin OTG_HS_DP_Pin */
  GPIO_InitStruct.Pin = OTG_HS_ID_Pin|OTG_HS_DM_Pin|OTG_HS_DP_Pin;
  GPIO_InitStruct.Mode = GPIO_MODE_AF_PP;
  GPIO_InitStruct.Pull = GPIO_NOPULL;
  GPIO_InitStruct.Speed = GPIO_SPEED_FREQ_LOW;
  GPIO_InitStruct.Alternate = GPIO_AF12_OTG_HS_FS;
  HAL_GPIO_Init(GPIOB, &GPIO_InitStruct);

  /*Configure GPIO pin : VBUS_HS_Pin */
  GPIO_InitStruct.Pin = VBUS_HS_Pin;
  GPIO_InitStruct.Mode = GPIO_MODE_INPUT;
  GPIO_InitStruct.Pull = GPIO_NOPULL;
  HAL_GPIO_Init(VBUS_HS_GPIO_Port, &GPIO_InitStruct);

  /*Configure GPIO pins : D13_Pin D14_Pin D15_Pin D0_Pin
                           D1_Pin D2_Pin D3_Pin */
  GPIO_InitStruct.Pin = D13_Pin|D14_Pin|D15_Pin|D0_Pin
                          |D1_Pin|D2_Pin|D3_Pin;
  GPIO_InitStruct.Mode = GPIO_MODE_AF_PP;
  GPIO_InitStruct.Pull = GPIO_NOPULL;
  GPIO_InitStruct.Speed = GPIO_SPEED_FREQ_VERY_HIGH;
  GPIO_InitStruct.Alternate = GPIO_AF12_FMC;
  HAL_GPIO_Init(GPIOD, &GPIO_InitStruct);

  /*Configure GPIO pin : TE_Pin */
  GPIO_InitStruct.Pin = TE_Pin;
  GPIO_InitStruct.Mode = GPIO_MODE_INPUT;
  GPIO_InitStruct.Pull = GPIO_NOPULL;
  HAL_GPIO_Init(TE_GPIO_Port, &GPIO_InitStruct);

  /*Configure GPIO pins : RDX_Pin WRX_DCX_Pin */
  GPIO_InitStruct.Pin = RDX_Pin|WRX_DCX_Pin;
  GPIO_InitStruct.Mode = GPIO_MODE_OUTPUT_PP;
  GPIO_InitStruct.Pull = GPIO_NOPULL;
  GPIO_InitStruct.Speed = GPIO_SPEED_FREQ_LOW;
  HAL_GPIO_Init(GPIOD, &GPIO_InitStruct);

  /*Configure GPIO pin : MAX30102_INT_Pin */
  GPIO_InitStruct.Pin = MAX30102_INT_Pin;
  GPIO_InitStruct.Mode = GPIO_MODE_INPUT;
  GPIO_InitStruct.Pull = GPIO_NOPULL;
  HAL_GPIO_Init(MAX30102_INT_GPIO_Port, &GPIO_InitStruct);

  /*Configure GPIO pins : R7_Pin DOTCLK_Pin B3_Pin */
  GPIO_InitStruct.Pin = R7_Pin|DOTCLK_Pin|B3_Pin;
  GPIO_InitStruct.Mode = GPIO_MODE_AF_PP;
  GPIO_InitStruct.Pull = GPIO_NOPULL;
  GPIO_InitStruct.Speed = GPIO_SPEED_FREQ_LOW;
  GPIO_InitStruct.Alternate = GPIO_AF14_LTDC;
  HAL_GPIO_Init(GPIOG, &GPIO_InitStruct);

  /*Configure GPIO pins : HSYNC_Pin G6_Pin R2_Pin */
  GPIO_InitStruct.Pin = HSYNC_Pin|G6_Pin|R2_Pin;
  GPIO_InitStruct.Mode = GPIO_MODE_AF_PP;
  GPIO_InitStruct.Pull = GPIO_NOPULL;
  GPIO_InitStruct.Speed = GPIO_SPEED_FREQ_LOW;
  GPIO_InitStruct.Alternate = GPIO_AF14_LTDC;
  HAL_GPIO_Init(GPIOC, &GPIO_InitStruct);

  /*Configure GPIO pins : G7_Pin B2_Pin */
  GPIO_InitStruct.Pin = G7_Pin|B2_Pin;
  GPIO_InitStruct.Mode = GPIO_MODE_AF_PP;
  GPIO_InitStruct.Pull = GPIO_NOPULL;
  GPIO_InitStruct.Speed = GPIO_SPEED_FREQ_LOW;
  GPIO_InitStruct.Alternate = GPIO_AF14_LTDC;
  HAL_GPIO_Init(GPIOD, &GPIO_InitStruct);

  /*Configure GPIO pins : G3_Pin B4_Pin */
  GPIO_InitStruct.Pin = G3_Pin|B4_Pin;
  GPIO_InitStruct.Mode = GPIO_MODE_AF_PP;
  GPIO_InitStruct.Pull = GPIO_NOPULL;
  GPIO_InitStruct.Speed = GPIO_SPEED_FREQ_LOW;
  GPIO_InitStruct.Alternate = GPIO_AF9_LTDC;
  HAL_GPIO_Init(GPIOG, &GPIO_InitStruct);

  /*Configure GPIO pins : LD3_Pin LD4_Pin */
  GPIO_InitStruct.Pin = LD3_Pin|LD4_Pin;
  GPIO_InitStruct.Mode = GPIO_MODE_OUTPUT_PP;
  GPIO_InitStruct.Pull = GPIO_NOPULL;
  GPIO_InitStruct.Speed = GPIO_SPEED_FREQ_LOW;
  HAL_GPIO_Init(GPIOG, &GPIO_InitStruct);

  /*Configure GPIO pins : SDCKE1_Pin SDNE1_Pin */
  GPIO_InitStruct.Pin = SDCKE1_Pin|SDNE1_Pin;
  GPIO_InitStruct.Mode = GPIO_MODE_AF_PP;
  GPIO_InitStruct.Pull = GPIO_NOPULL;
  GPIO_InitStruct.Speed = GPIO_SPEED_FREQ_VERY_HIGH;
  GPIO_InitStruct.Alternate = GPIO_AF12_FMC;
  HAL_GPIO_Init(GPIOB, &GPIO_InitStruct);

}

/* USER CODE BEGIN 4 */
void print_float(float value)
{

  int tmp,tmp1,tmp2,tmp3;

  tmp = (int)value;

  tmp1=(int)((value-tmp)*10)%10;

  tmp2=(int)((value-tmp)*100)%10;

  tmp3=(int)((value-tmp)*1000)%10;

  printf("%d.%d%d%d\n", tmp,tmp1,tmp2,tmp3);

}
/* USER CODE END 4 */

void Error_Handler(void)
{
}

/************************ (C) COPYRIGHT STMicroelectronics *****END OF FILE****/
